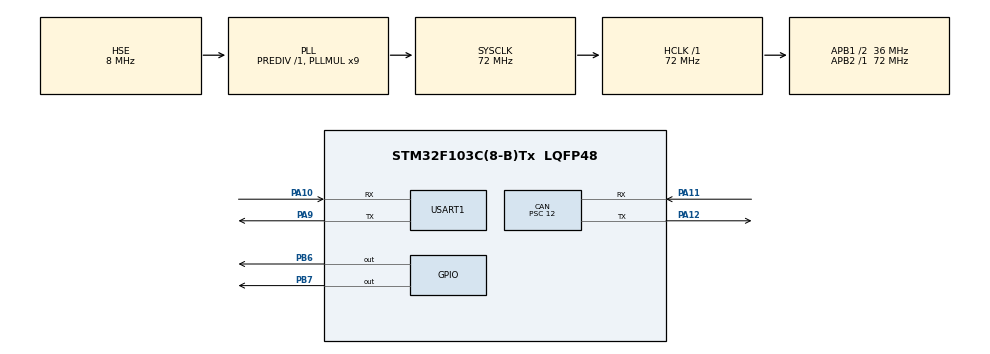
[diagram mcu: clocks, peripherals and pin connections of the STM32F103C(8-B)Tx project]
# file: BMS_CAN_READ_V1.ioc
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CAN.BS1=CAN_BS1_7TQ
CAN.BS2=CAN_BS2_6TQ
CAN.CalculateTimeBit=4666
CAN.CalculateTimeQuantum=333.33333333333337
CAN.Prescaler=12
Mcu.Family=STM32F1
Mcu.Name=STM32F103C(8-B)Tx
Mcu.Package=LQFP48
NVIC.CAN1_RX1_IRQn=true\:0\:0\:false\:false\:true\:true\:true
NVIC.PriorityGroup=NVIC_PRIORITYGROUP_4
NVIC.USB_LP_CAN1_RX0_IRQn=true\:0\:0\:false\:false\:true\:true\:true
PA10.Mode=Asynchronous
PA10.Signal=USART1_RX
PA11.Mode=Master
PA11.Signal=CAN_RX
PA12.Mode=Master
PA12.Signal=CAN_TX
PA13.Mode=Serial_Wire
PA13.Signal=SYS_JTMS-SWDIO
PA14.Mode=Serial_Wire
PA14.Signal=SYS_JTCK-SWCLK
PA9.Mode=Asynchronous
PA9.Signal=USART1_TX
PB6.Signal=GPIO_Output
PB7.Signal=GPIO_Output
PD0-OSC_IN.Mode=HSE-External-Oscillator
PD0-OSC_IN.Signal=RCC_OSC_IN
PD1-OSC_OUT.Mode=HSE-External-Oscillator
PD1-OSC_OUT.Signal=RCC_OSC_OUT
ProjectManager.HeapSize=0x200
ProjectManager.StackSize=0x400
ProjectManager.TargetToolchain=MDK-ARM V5.27
RCC.AHBFreq_Value=72000000
RCC.APB1CLKDivider=RCC_HCLK_DIV2
RCC.APB1Freq_Value=36000000
RCC.APB1TimFreq_Value=72000000
RCC.APB2Freq_Value=72000000
RCC.APB2TimFreq_Value=72000000
RCC.HCLKFreq_Value=72000000
RCC.PLLMUL=RCC_PLL_MUL9
RCC.PLLSourceVirtual=RCC_PLLSOURCE_HSE
RCC.SYSCLKFreq_VALUE=72000000
RCC.SYSCLKSource=RCC_SYSCLKSOURCE_PLLCLK
RCC.USBFreq_Value=72000000
USART1.VirtualMode=VM_ASYNC
board=custom

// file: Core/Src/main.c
/* USER CODE BEGIN Header */
/**
  ******************************************************************************
  * @file           : main.c
  * @brief          : Main program body
  ******************************************************************************
  * @attention
  *
  * <h2><center>&copy; Copyright (c) 2021 STMicroelectronics.
  * All rights reserved.</center></h2>
  *
  * This software component is licensed by ST under BSD 3-Clause license,
  * the "License"; You may not use this file except in compliance with the
  * License. You may obtain a copy of the License at:
  *                        opensource.org/licenses/BSD-3-Clause
  *
  ******************************************************************************
  */
/* USER CODE END Header */
#include "main.h"
#include "can.h"
#include "usart.h"
#include "gpio.h"

/* USER CODE BEGIN Includes */
#include "stdio.h"
#include "stm32f1xx_hal_can.h"
#include "string.h"
/* USER CODE END Includes */

/* USER CODE BEGIN PTD */
// uint8_t TxData[8];
// uint8_t RxData[8];
uint32_t TxMailbox;

/* USER CODE END PTD */

/* USER CODE BEGIN PV */
CAN_TxHeaderTypeDef TxHeader;
CAN_RxHeaderTypeDef RxHeader;
/* USER CODE END PV */

void SystemClock_Config(void);

int main(void)
{

  /* MCU Configuration--------------------------------------------------------*/

  /* Reset of all peripherals, Initializes the Flash interface and the Systick. */
  HAL_Init();

  /* Configure the system clock */
  SystemClock_Config();

  /* Initialize all configured peripherals */
  MX_GPIO_Init();
  MX_CAN_Init();
  MX_USART1_UART_Init();
  /* USER CODE BEGIN 2 */

	HAL_CAN_Start(&hcan);  /* 启动CAN*/
  HAL_CAN_ActivateNotification(&hcan,CAN_IT_RX_FIFO0_MSG_PENDING);  /* 开启接收中断 */
	printf("Welcome To AH-YD!\r\n");

  /*CAN通讯报文内容设置*/
  // TxHeader.ExtId = 0x1810AABB;
  // TxHeader.RTR = CAN_RTR_DATA;
  // TxHeader.IDE = CAN_ID_EXT;
  // TxHeader.DLC = 2;
  // TxHeader.TxData[0]  = 0x01;
  // TxHeader.TxData[1]  = 0x02;
  // if(HAL_CAN_AddTxMessage(&hcan, &TxHeader, TxHeader.TxData, &TxMailbox) == HAL_OK)
  // {
  //   printf("send sucessful!\r\n");
  //   printf("EXT ID NOM Extid: 0x%x\n",TxHeader.ExtId);
  // }
  /* USER CODE END 2 */

  /* Infinite loop */
  /* USER CODE BEGIN WHILE */
  while (1)
  {
    LED1_TOGGLE;
    HAL_Delay(500);
    /* USER CODE END WHILE */

  }
}

void SystemClock_Config(void)
{
  RCC_OscInitTypeDef RCC_OscInitStruct = {0};
  RCC_ClkInitTypeDef RCC_ClkInitStruct = {0};

  /** Initializes the RCC Oscillators according to the specified parameters
  * in the RCC_OscInitTypeDef structure.
  */
  RCC_OscInitStruct.OscillatorType = RCC_OSCILLATORTYPE_HSE;
  RCC_OscInitStruct.HSEState = RCC_HSE_ON;
  RCC_OscInitStruct.HSEPredivValue = RCC_HSE_PREDIV_DIV1;
  RCC_OscInitStruct.HSIState = RCC_HSI_ON;
  RCC_OscInitStruct.PLL.PLLState = RCC_PLL_ON;
  RCC_OscInitStruct.PLL.PLLSource = RCC_PLLSOURCE_HSE;
  RCC_OscInitStruct.PLL.PLLMUL = RCC_PLL_MUL9;
  if (HAL_RCC_OscConfig(&RCC_OscInitStruct) != HAL_OK)
  {
    Error_Handler();
  }
  /** Initializes the CPU, AHB and APB buses clocks
  */
  RCC_ClkInitStruct.ClockType = RCC_CLOCKTYPE_HCLK|RCC_CLOCKTYPE_SYSCLK
                              |RCC_CLOCKTYPE_PCLK1|RCC_CLOCKTYPE_PCLK2;
  RCC_ClkInitStruct.SYSCLKSource = RCC_SYSCLKSOURCE_PLLCLK;
  RCC_ClkInitStruct.AHBCLKDivider = RCC_SYSCLK_DIV1;
  RCC_ClkInitStruct.APB1CLKDivider = RCC_HCLK_DIV2;
  RCC_ClkInitStruct.APB2CLKDivider = RCC_HCLK_DIV1;

  if (HAL_RCC_ClockConfig(&RCC_ClkInitStruct, FLASH_LATENCY_2) != HAL_OK)
  {
    Error_Handler();
  }
}

/* USER CODE BEGIN 4 */

/**
 * 函数功能�? CAN接收完成回调函数
 * 输入参数：无
 * 输出参数：无
 * �?   �? ：无
 */
void HAL_CAN_RxFifo0MsgPendingCallback(CAN_HandleTypeDef *hcan) //接收完成回调函数
{
  if(hcan->Instance == CAN1)//确定是can1接收中断
  {
    if(HAL_CAN_GetRxMessage(hcan, CAN_RX_FIFO0, &RxHeader, RxHeader.RxData) == HAL_OK)// 接收OK
    {
      if(RxHeader.ExtId == 0x1810BBAA ) // 远程帧是1810BBAA
      {
        LED2_TOGGLE;
        printf("Receive Successful!\r\n");//打印出容量信息和剩余电量百分比
        printf("CAP= %dAH SOC=%d%% \r\n",(RxHeader.RxData[0]*256+RxHeader.RxData[1])/10 ,RxHeader.RxData[2]);
      }
      HAL_CAN_ActivateNotification(hcan, CAN_IT_RX_FIFO0_MSG_PENDING);//重新使能接收
    }
  }
}
/* USER CODE END 4 */

void Error_Handler(void)
{
  /* USER CODE BEGIN Error_Handler_Debug */
  /* User can add his own implementation to report the HAL error return state */
  // LED2_ON;
  /* USER CODE END Error_Handler_Debug */
}

/************************ (C) COPYRIGHT STMicroelectronics *****END OF FILE****/
